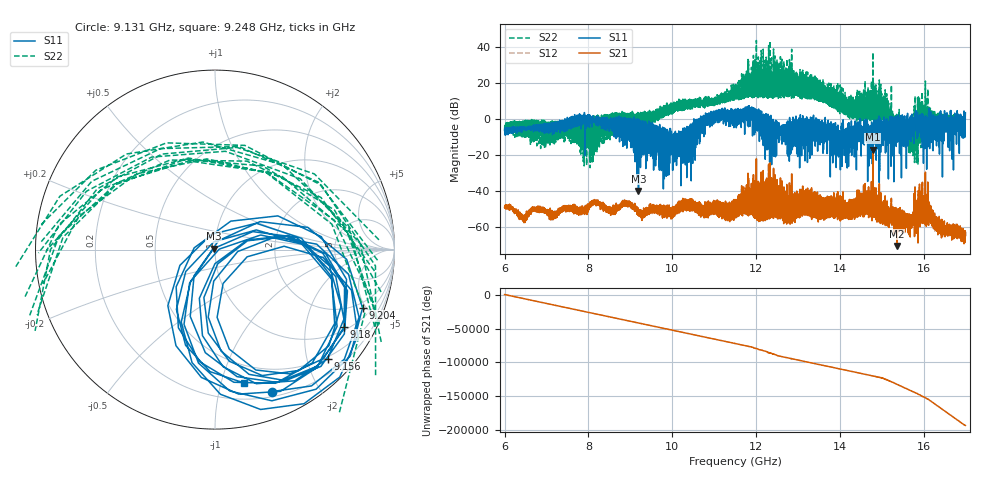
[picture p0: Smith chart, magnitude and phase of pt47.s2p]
#  HZ  S  RI  R  50.00
! Rohde & Schwarz Vector Network Analyzer
! Rohde-Schwarz,ZNA67-2Port,1332450062101215,3.01
! Created: UTC 10/16/2026, 9:31:47 AM
! freq[Hz]  re:S11  im:S11  re:S21  im:S21  re:S12  im:S12  re:S22  im:S22
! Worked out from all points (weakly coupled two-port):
!   11001 points, 6 GHz to 17 GHz, reference 50 ohm
!   highest |S21| = -17.24 dB at 14.79 GHz (marker M1); lowest = -70.8 dB at 15.37 GHz (marker M2)
!   lowest |S11| = -40.2 dB at 9.196 GHz (marker M3), VSWR 1.02, Z = 49.2 + j0.588 ohm
!   |S11| at or under -10 dB: 10.00637 GHz to 10.03676 GHz (30.39 MHz wide, 0.303 % of centre); 10.16071 GHz to 10.18747 GHz (26.76 MHz wide, 0.263 % of centre); 14.38707 GHz to 14.40968 GHz (22.61 MHz wide, 0.157 % of centre) (the widest 3 of 386)
!   |S22| runs from -27.2 to 43.5 dB; largest |S21 - S12| = 0.005
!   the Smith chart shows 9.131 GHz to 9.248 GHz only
!   S11 on the Smith chart (normalised r, x): 9.131 GHz: 0.25, -1.45; 9.156 GHz: 0.47, -2.39; 9.18 GHz: 1.12, -3.26; 9.204 GHz: 1.60, -4.74; 9.248 GHz: 0.34, -1.18
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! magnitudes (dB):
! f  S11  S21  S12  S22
! 6 GHz  -6.5  -49.3  -49.3  -6.7
! 6.458 GHz  -5.3  -54.6  -54.6  -1.7
! 7.834 GHz  1.1  -50.1  -50.0  -2.8
! 9.131 GHz  -1.4  -48.6  -48.6  2.5
! 9.156 GHz  -1.2  -50.1  -50.0  1.4
! 9.18 GHz  -1.5  -49.7  -49.6  -0.4
! 9.196 GHz  -40.2  -53.1  -52.9  -2.1
! 9.204 GHz  -1.1  -51.2  -51.3  -2.6
! 9.248 GHz  -2.4  -51.4  -51.3  3.1
! 9.667 GHz  -4.9  -51.1  -51.4  4.4
! 10.22 GHz  -7.1  -49.9  -50.0  7.6
! 10.84 GHz  -3.4  -48.4  -48.3  10.9
! 11.5 GHz  5.0  -52.6  -52.4  12.0
! 12.44 GHz  -4.4  -46.4  -46.6  19.5
! 13.33 GHz  -18.2  -50.9  -50.6  13.9
! 13.97 GHz  -6.9  -54.0  -54.3  4.7
! 14.79 GHz  -10.1  -17.2  -17.4  36.9
! 15.17 GHz  -2.5  -49.3  -49.0  8.8
! 15.37 GHz  -3.8  -70.8  -70.9  -0.3
! 15.68 GHz  -3.1  -60.7  -60.2  -10.0
! 16 GHz  -4.3  -56.1  -55.6  -3.3
! 17 GHz  3.3  -64.9  -65.7  0.5
